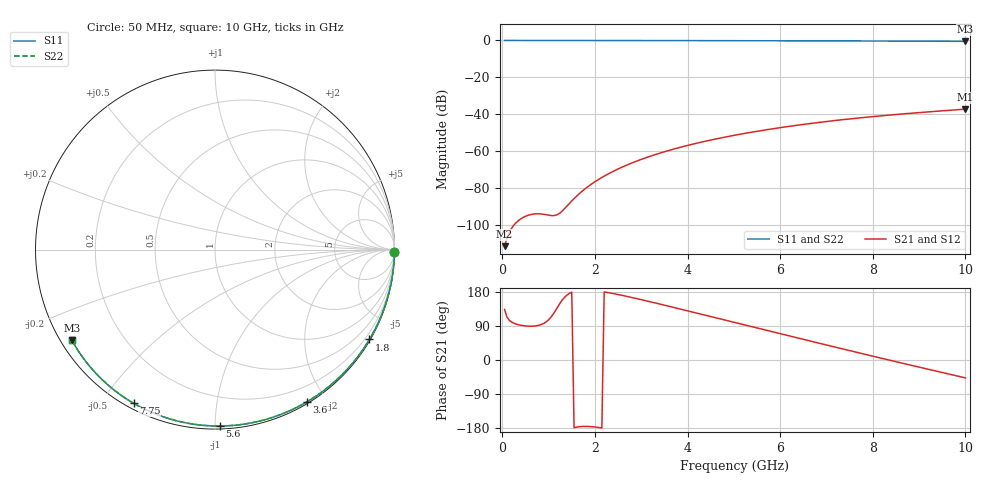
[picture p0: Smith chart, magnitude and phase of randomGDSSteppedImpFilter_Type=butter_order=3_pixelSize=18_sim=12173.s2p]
! freq	dB(S11)	phase(S11)	dB(S12)	phase(S12)
!  dB(S21)	phase(S21)	dB(S22)	phase(S22)
!S-par simulation data
#  GHz  S  DB  R 50
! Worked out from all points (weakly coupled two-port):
!   200 points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, 50 MHz to 10 GHz, reference 50 ohm
!   highest |S21| = -37.25 dB at 10 GHz (marker M1); lowest = -111.6 dB at 50 MHz (marker M2)
!   lowest |S11| = -0.5 dB at 10 GHz (marker M3), VSWR 34.73, Z = 1.56 - j14.5 ohm
!   |S11| at or under -10 dB: nowhere
!   |S22| runs from -0.5 to 0.0 dB; largest |S21 - S12| = 0
!   S11 on the Smith chart (normalised r, x): 50 MHz: open; 1.8 GHz: 0.03, -3.71; 3.6 GHz: 0.02, -1.77; 5.6 GHz: 0.02, -1.03; 7.75 GHz: 0.02, -0.60; 10 GHz: 0.03, -0.29
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0.05  -0.00 -0.9  -111.59 133.2  -111.59 133.2  -0.00 -0.9
0.45  -0.01 -7.7  -96.00 90.6  -96.00 90.6  -0.01 -7.7
0.9  -0.02 -15.2  -94.31 97.0  -94.31 97.0  -0.02 -15.2
1.3  -0.03 -21.9  -92.38 159.1  -92.38 159.1  -0.03 -21.9
1.75  -0.04 -29.4  -81.23 -175.2  -81.23 -175.2  -0.04 -29.4
1.8  -0.04 -30.2  -80.23 -175.2  -80.23 -175.2  -0.04 -30.2
2.15  -0.05 -35.9  -74.31 -179.3  -74.31 -179.3  -0.05 -35.9
2.5  -0.05 -41.5  -69.71 172.9  -69.71 172.9  -0.05 -41.5
2.9  -0.06 -47.9  -65.45 162.1  -65.45 162.1  -0.06 -47.9
3.4  -0.07 -55.8  -61.13 147.7  -61.13 147.7  -0.07 -55.8
3.6  -0.08 -58.9  -59.63 141.7  -59.63 141.7  -0.08 -58.9
3.9  -0.09 -63.5  -57.58 132.8  -57.58 132.8  -0.09 -63.5
4.3  -0.10 -69.5  -55.13 120.7  -55.13 120.7  -0.10 -69.5
5.05  -0.12 -80.6  -51.26 98.1  -51.26 98.1  -0.12 -80.6
5.6  -0.15 -88.5  -48.86 81.5  -48.86 81.5  -0.15 -88.5
6.15  -0.17 -96.2  -46.75 65.0  -46.75 65.0  -0.17 -96.2
6.7  -0.20 -103.8  -44.89 48.5  -44.89 48.5  -0.20 -103.8
7.2  -0.23 -110.5  -43.39 33.6  -43.39 33.6  -0.23 -110.5
7.75  -0.27 -117.9  -41.92 17.4  -41.92 17.4  -0.27 -117.9
8.35  -0.32 -125.8  -40.50 -0.1  -40.50 -0.1  -0.32 -125.8
9.2  -0.41 -137.0  -38.74 -24.5  -38.74 -24.5  -0.41 -137.0
10  -0.50 -147.6  -37.25 -47.2  -37.25 -47.2  -0.50 -147.6
